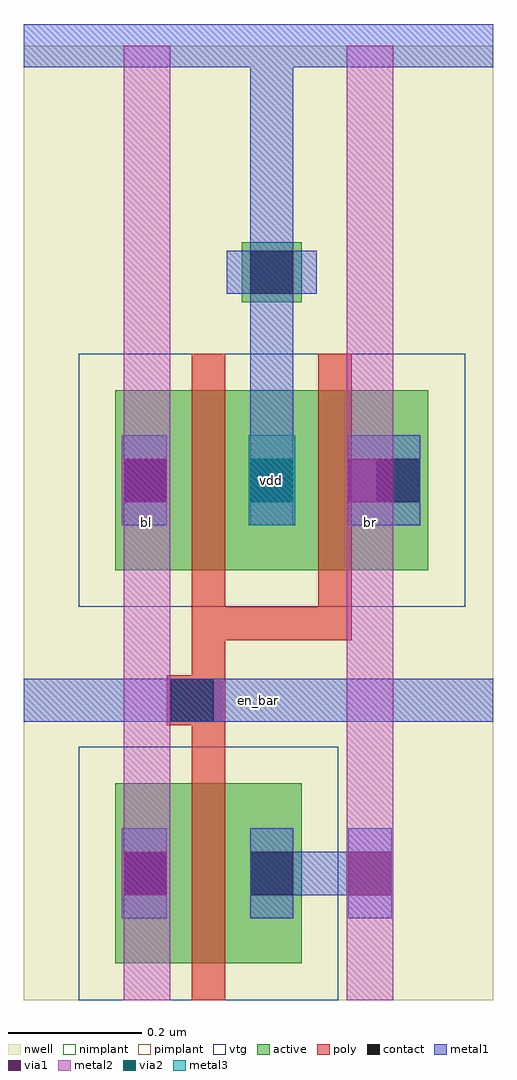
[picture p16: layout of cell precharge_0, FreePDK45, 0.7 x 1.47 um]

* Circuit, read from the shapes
.subckt precharge_0 bl br en_bar vdd
M1 br en_bar bl vdd pfet w=0.27u l=0.05u
M2 vdd en_bar bl vdd pfet w=0.27u l=0.05u
M3 br en_bar vdd vdd pfet w=0.27u l=0.05u
.ends

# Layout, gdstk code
import gdstk
lib = gdstk.Library(unit=1e-6, precision=5e-10)
def R(c, l, rs):  # rectangles x0, y0, x1, y1
    for r in rs: c.add(gdstk.rectangle(r[:2], r[2:], *l))
active = (1, 0)
nwell = (3, 0)
nimplant = (4, 0)
pimplant = (5, 0)
vtg = (6, 0)
poly = (9, 0)
contact = (10, 0)
metal1 = (11, 0)
via1 = (12, 0)
metal2 = (13, 0)
via2 = (14, 0)
metal3 = (15, 0)

contact_9 = lib.new_cell('contact_9')
R(contact_9, active, [(0,0.0225,0.09,0.1125)])
R(contact_9, nwell, [(-0.055,-0.0325,0.145,0.1675)])
R(contact_9, pimplant, [(0,0.0225,0.09,0.1125)])
R(contact_9, contact, [(0.0125,0.035,0.0775,0.1)])
R(contact_9, metal1, [(0.0125,0,0.0775,0.135)])

pmos_m1_w0_270 = lib.new_cell('pmos_m1_w0_270')
R(pmos_m1_w0_270, active, [(0,0,0.28,0.27)])
R(pmos_m1_w0_270, nwell, [(-0.055,-0.055,0.335,0.325)])
R(pmos_m1_w0_270, pimplant, [(0,0,0.28,0.27)])
R(pmos_m1_w0_270, vtg, [(-0.055,-0.055,0.335,0.325)])
R(pmos_m1_w0_270, poly, [(0.115,-0.055,0.165,0.325), (0.115,-0.055,0.165,0.325)])
R(pmos_m1_w0_270, metal1, [(0.0125,0.0675,0.0775,0.2025), (0.2025,0.0675,0.2675,0.2025)])
pmos_m1_w0_270.add(gdstk.Reference(contact_9, (0,0.0675)))
pmos_m1_w0_270.add(gdstk.Reference(contact_9, (0.19,0.0675)))
pmos_m1_w0_270.add(gdstk.Label('G', (0.14,0.135), layer=9, texttype=0))
pmos_m1_w0_270.add(gdstk.Label('S', (0.045,0.135), layer=11, texttype=0))
pmos_m1_w0_270.add(gdstk.Label('D', (0.235,0.135), layer=11, texttype=0))

contact_10 = lib.new_cell('contact_10')
R(contact_10, poly, [(0.03,0,0.105,0.075)])
R(contact_10, contact, [(0.035,0.005,0.1,0.07)])
R(contact_10, metal1, [(0,0.005,0.135,0.07)])

contact_11 = lib.new_cell('contact_11')
R(contact_11, active, [(0.0225,0,0.1125,0.09)])
R(contact_11, nwell, [(-0.0325,-0.055,0.1675,0.145)])
R(contact_11, nimplant, [(0.0225,0,0.1125,0.09)])
R(contact_11, contact, [(0.035,0.0125,0.1,0.0775)])
R(contact_11, metal1, [(0,0.0125,0.135,0.0775)])

contact_12 = lib.new_cell('contact_12')
R(contact_12, metal1, [(0.0025,0,0.0675,0.135)])
R(contact_12, via1, [(0.0025,0.035,0.0675,0.1)])
R(contact_12, metal2, [(0,0,0.07,0.135)])

contact_13 = lib.new_cell('contact_13')
R(contact_13, metal2, [(0,0,0.07,0.135)])
R(contact_13, via2, [(0.0025,0.035,0.0675,0.1)])
R(contact_13, metal3, [(0,0,0.07,0.135)])

precharge_0 = lib.new_cell('precharge_0')
R(precharge_0, nwell, [(0,0,0.705,1.4325)])
R(precharge_0, poly, [(0.2525,0,0.3025,0.59), (0.2525,0.54,0.4925,0.59)])
R(precharge_0, metal1, [(0.3725,0.1575,0.52,0.2225), (0,0.4175,0.705,0.4825), (0.52,0.7475,0.5625,0.8125), (0.34,0.8475,0.405,1.4325), (0,1.4,0.705,1.465)])
R(precharge_0, metal2, [(0.15,0,0.22,1.4325), (0.485,0,0.555,1.4325), (0.1825,0.1225,0.185,0.2575), (0.1825,0.7125,0.185,0.8475)])
R(precharge_0, metal3, [(0.3375,0.7125,0.4075,0.8475)])
precharge_0.add(gdstk.Reference(pmos_m1_w0_270, (0.1375,0.055)))
precharge_0.add(gdstk.Reference(pmos_m1_w0_270, (0.1375,0.645)))
precharge_0.add(gdstk.Reference(pmos_m1_w0_270, (0.3275,0.645)))
precharge_0.add(gdstk.Reference(contact_10, (0.185,0.4125)))
precharge_0.add(gdstk.Reference(contact_11, (0.305,1.0475)))
precharge_0.add(gdstk.Reference(contact_12, (0.3375,0.7125)))
precharge_0.add(gdstk.Reference(contact_13, (0.3375,0.7125)))
precharge_0.add(gdstk.Reference(contact_12, (0.1475,0.7125)))
precharge_0.add(gdstk.Reference(contact_12, (0.1475,0.1225)))
precharge_0.add(gdstk.Reference(contact_12, (0.485,0.7125)))
precharge_0.add(gdstk.Reference(contact_12, (0.485,0.1225)))
precharge_0.add(gdstk.Label('en_bar', (0.3525,0.45), layer=11, texttype=0))
precharge_0.add(gdstk.Label('vdd', (0.3725,0.78), layer=15, texttype=0))
precharge_0.add(gdstk.Label('bl', (0.185,0.716), layer=13, texttype=0))
precharge_0.add(gdstk.Label('br', (0.52,0.716), layer=13, texttype=0))

lib.write_gds('precharge_0.gds')
